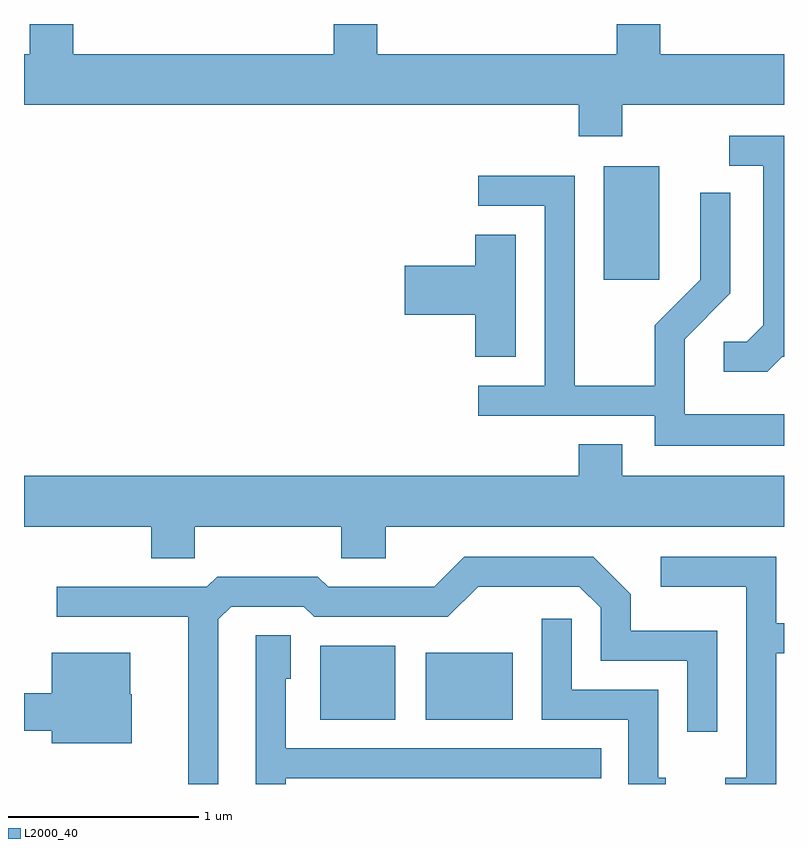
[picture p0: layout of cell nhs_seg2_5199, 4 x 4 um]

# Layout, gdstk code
import gdstk
lib = gdstk.Library(unit=1e-6, precision=1e-09)
def R(c, l, rs):  # rectangles x0, y0, x1, y1
    for r in rs: c.add(gdstk.rectangle(r[:2], r[2:], *l))
def P(c, l, *ps):  # polygons
    for p in ps: c.add(gdstk.Polygon(p, *l))
L2000_40 = (2000, 40)

nhs_seg2_5199 = lib.new_cell('nhs_seg2_5199')
R(nhs_seg2_5199, L2000_40, [(339.171,1096.141,339.564,1096.529), (339.726,1096.141,340.184,1096.494), (340.661,1098.456,340.954,1099.054), (339.761,1099.801,340.358,1099.802)])
P(nhs_seg2_5199, L2000_40, [(340.759,1099.376),(341.611,1099.376),(341.611,1099.644),(340.959,1099.644),(340.959,1099.802),(340.731,1099.802),(340.731,1099.644),(339.469,1099.644),(339.469,1099.802),(339.241,1099.802),(339.241,1099.644),(337.869,1099.644),(337.869,1099.802),(337.641,1099.802),(337.641,1099.644),(337.611,1099.644),(337.611,1099.376),(340.531,1099.376),(340.531,1099.211),(340.759,1099.211)],
  [(341.602,1098.051),(341.611,1098.051),(341.611,1099.214),(341.323,1099.214),(341.323,1099.056),(341.501,1099.056),(341.501,1098.217),(341.414,1098.129),(341.293,1098.129),(341.293,1097.971),(341.522,1097.971)],
  [(341.611,1097.749),(341.089,1097.749),(341.089,1098.144),(341.329,1098.384),(341.329,1098.913),(341.171,1098.913),(341.171,1098.457),(340.931,1098.217),(340.931,1097.899),(340.509,1097.899),(340.509,1099.004),(340.003,1099.004),(340.003,1098.846),(340.351,1098.846),(340.351,1097.899),(340.003,1097.899),(340.003,1097.741),(340.931,1097.741),(340.931,1097.581),(341.611,1097.581)],
  [(340.199,1098.694),(339.986,1098.694),(339.986,1098.529),(339.616,1098.529),(339.616,1098.271),(339.986,1098.271),(339.986,1098.051),(340.199,1098.051)],
  [(338.509,1097.156),(339.281,1097.156),(339.281,1096.991),(339.514,1096.991),(339.514,1097.156),(341.611,1097.156),(341.611,1097.424),(340.759,1097.424),(340.759,1097.589),(340.531,1097.589),(340.531,1097.424),(337.611,1097.424),(337.611,1097.156),(338.281,1097.156),(338.281,1096.991),(338.509,1096.991)],
  [(341.569,1096.491),(341.611,1096.491),(341.611,1096.649),(341.569,1096.649),(341.569,1096.999),(340.963,1096.999),(340.963,1096.841),(341.411,1096.841),(341.411,1095.834),(341.301,1095.834),(341.301,1095.802),(341.569,1095.802)],
  [(338.634,1096.669),(338.702,1096.736),(339.084,1096.736),(339.139,1096.681),(339.842,1096.681),(340.002,1096.841),(340.534,1096.841),(340.646,1096.729),(340.646,1096.451),(341.101,1096.451),(341.101,1096.078),(341.259,1096.078),(341.259,1096.609),(340.804,1096.609),(340.804,1096.802),(340.607,1096.999),(339.929,1096.999),(339.769,1096.839),(339.212,1096.839),(339.157,1096.894),(338.629,1096.894),(338.574,1096.839),(337.783,1096.839),(337.783,1096.681),(338.476,1096.681),(338.476,1095.802),(338.634,1095.802)],
  [(340.989,1095.834),(340.949,1095.834),(340.949,1096.299),(340.494,1096.299),(340.494,1096.673),(340.336,1096.673),(340.336,1096.141),(340.791,1096.141),(340.791,1095.802),(340.989,1095.802)],
  [(338.989,1095.831),(340.648,1095.831),(340.648,1095.989),(338.989,1095.989),(338.989,1096.356),(339.014,1096.356),(339.014,1096.584),(338.831,1096.584),(338.831,1095.802),(338.989,1095.802)],
  [(338.179,1096.275),(338.169,1096.275),(338.169,1096.494),(337.756,1096.494),(337.756,1096.279),(337.611,1096.279),(337.611,1096.081),(337.756,1096.081),(337.756,1096.016),(338.179,1096.016)])

lib.write_gds('nhs_seg2_5199.gds')
